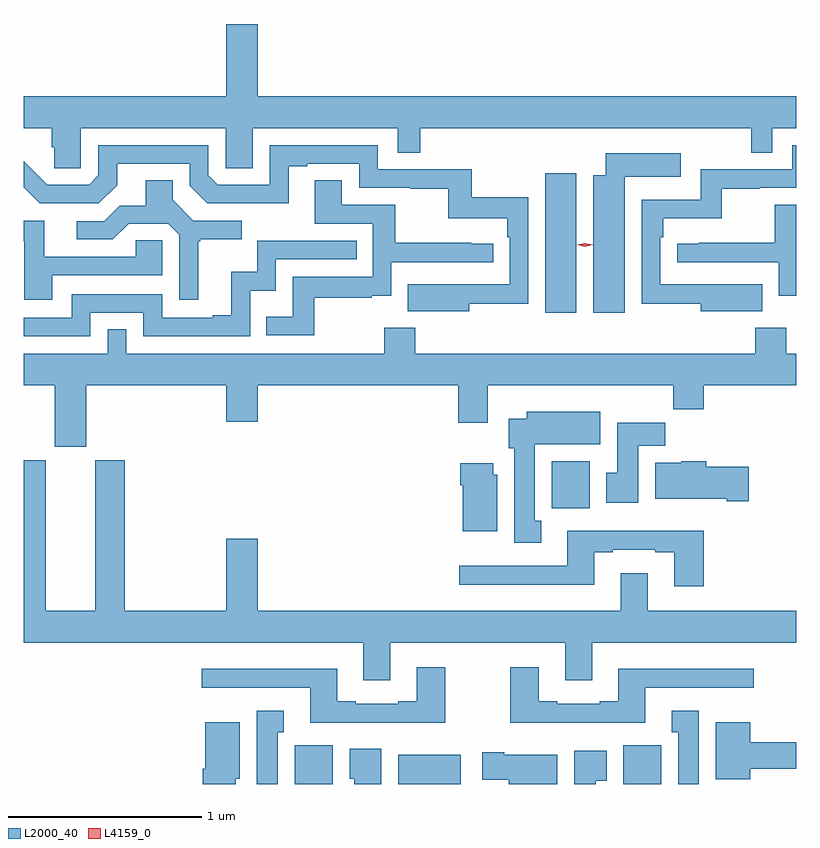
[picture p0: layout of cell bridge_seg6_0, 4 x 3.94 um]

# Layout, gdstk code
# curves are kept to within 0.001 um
import gdstk
lib = gdstk.Library(unit=1e-6, precision=1e-09)
def R(c, l, rs):  # rectangles x0, y0, x1, y1
    for r in rs: c.add(gdstk.rectangle(r[:2], r[2:], *l))
def P(c, l, *ps):  # polygons
    for p in ps: c.add(gdstk.Polygon(p, *l))
L2000_40 = (2000, 40)
L4159_0 = (4159, 0)

bridge_seg6_0 = lib.new_cell('bridge_seg6_0')
R(bridge_seg6_0, L2000_40, [(884.642,915.968,884.839,916.168), (885.179,915.968,885.502,916.12), (886.343,915.968,886.54,916.168), (885.974,917.396,886.171,917.638), (885.941,918.408,886.102,919.129)])
P(bridge_seg6_0, L2000_40, [(883.536,919.364),(884.286,919.364),(884.286,919.156),(884.425,919.156),(884.425,919.364),(885.177,919.364),(885.177,919.237),(885.293,919.237),(885.293,919.364),(887.007,919.364),(887.007,919.237),(887.115,919.237),(887.115,919.364),(887.24,919.364),(887.24,919.528),(884.452,919.528),(884.452,919.903),(884.288,919.903),(884.288,919.528),(883.24,919.528),(883.24,919.364),(883.385,919.364),(883.385,919.266),(883.399,919.266),(883.399,919.156),(883.536,919.156)],
  [(885.547,918.454),(885.852,918.454),(885.852,919.006),(885.559,919.006),(885.559,919.152),(885.072,919.152),(885.072,919.275),(884.514,919.275),(884.514,919.071),(884.244,919.071),(884.196,919.119),(884.196,919.275),(883.626,919.275),(883.626,919.119),(883.578,919.071),(883.362,919.071),(883.24,919.193),(883.24,919.058),(883.323,918.975),(883.629,918.975),(883.723,919.069),(883.723,919.179),(884.1,919.179),(884.1,919.065),(884.19,918.975),(884.611,918.974),(884.611,919.167),(884.707,919.167),(884.707,919.179),(884.976,919.179),(884.976,919.056),(885.241,919.056),(885.241,919.051),(885.438,919.051),(885.438,918.896),(885.743,918.896),(885.743,918.8),(885.756,918.8),(885.756,918.555),(885.229,918.556),(885.229,918.416),(885.547,918.416)],
  [(887.063,918.556),(886.849,918.556),(886.849,918.555),(886.536,918.555),(886.536,918.8),(886.55,918.8),(886.55,918.896),(886.855,918.896),(886.855,919.051),(887.051,919.051),(887.051,919.056),(887.24,919.056),(887.24,919.275),(887.22,919.275),(887.22,919.152),(886.746,919.152),(886.746,918.993),(886.44,918.993),(886.44,918.454),(886.745,918.454),(886.745,918.416),(887.063,918.416)],
  [(886.351,919.112),(886.642,919.112),(886.642,919.234),(886.253,919.234),(886.253,919.12),(886.19,919.12),(886.19,918.408),(886.351,918.408)],
  [(884.743,918.486),(885.041,918.486),(885.041,918.497),(885.144,918.497),(885.144,918.669),(885.67,918.669),(885.67,918.765),(885.557,918.765),(885.557,918.77),(885.164,918.77),(885.164,918.966),(884.887,918.966),(884.887,919.094),(884.747,919.094),(884.747,918.87),(885.048,918.87),(885.048,918.594),(884.632,918.594),(884.632,918.388),(884.497,918.388),(884.497,918.291),(884.743,918.291)],
  [(884.143,918.777),(884.155,918.777),(884.155,918.788),(884.368,918.788),(884.368,918.885),(884.118,918.885),(884.011,918.992),(884.011,919.094),(883.871,919.094),(883.871,918.962),(883.736,918.962),(883.656,918.882),(883.515,918.882),(883.515,918.789),(883.702,918.789),(883.783,918.87),(883.989,918.87),(884.046,918.813),(884.046,918.474),(884.143,918.474)],
  [(887.24,918.966),(887.128,918.966),(887.128,918.77),(886.735,918.77),(886.735,918.765),(886.623,918.765),(886.623,918.669),(887.148,918.669),(887.148,918.497),(887.24,918.497)],
  [(883.387,918.603),(883.956,918.603),(883.956,918.783),(883.819,918.783),(883.819,918.699),(883.345,918.699),(883.345,918.885),(883.24,918.885),(883.24,918.777),(883.243,918.777),(883.243,918.474),(883.387,918.474)],
  [(883.584,918.408),(883.86,918.408),(883.86,918.285),(884.412,918.285),(884.412,918.521),(884.544,918.521),(884.544,918.684),(884.963,918.684),(884.963,918.78),(884.448,918.78),(884.448,918.619),(884.315,918.619),(884.315,918.394),(884.219,918.394),(884.219,918.381),(883.956,918.381),(883.956,918.504),(883.488,918.504),(883.488,918.381),(883.24,918.381),(883.24,918.285),(883.584,918.285)],
  [(883.564,918.032),(884.288,918.032),(884.288,917.844),(884.452,917.844),(884.452,918.032),(885.491,918.032),(885.491,917.838),(885.643,917.838),(885.643,918.032),(886.603,918.032),(886.603,917.908),(886.76,917.908),(886.76,918.032),(887.24,918.032),(887.24,918.196),(887.187,918.196),(887.187,918.331),(887.027,918.331),(887.027,918.196),(885.266,918.196),(885.266,918.331),(885.106,918.331),(885.106,918.196),(883.77,918.196),(883.77,918.323),(883.674,918.323),(883.674,918.196),(883.24,918.196),(883.24,918.032),(883.4,918.032),(883.4,917.715),(883.564,917.715)],
  [(885.919,917.33),(885.886,917.33),(885.886,917.726),(886.225,917.726),(886.225,917.896),(885.845,917.896),(885.845,917.86),(885.752,917.86),(885.752,917.706),(885.779,917.706),(885.779,917.217),(885.919,917.217)],
  [(886.423,917.72),(886.562,917.72),(886.562,917.838),(886.313,917.838),(886.313,917.58),(886.256,917.58),(886.256,917.424),(886.423,917.424)],
  [(885.139,916.7),(886.043,916.7),(886.043,916.506),(886.183,916.506),(886.183,916.7),(887.24,916.7),(887.24,916.864),(886.471,916.864),(886.471,917.059),(886.331,917.059),(886.331,916.864),(884.452,916.864),(884.452,917.239),(884.288,917.239),(884.288,916.864),(883.763,916.864),(883.763,917.643),(883.61,917.643),(883.61,916.864),(883.354,916.864),(883.354,917.643),(883.24,917.643),(883.24,916.7),(884.999,916.7),(884.999,916.506),(885.139,916.506)],
  [(886.993,917.61),(886.775,917.61),(886.775,917.638),(886.644,917.638),(886.644,917.632),(886.511,917.632),(886.511,917.444),(886.88,917.444),(886.88,917.432),(886.993,917.432)],
  [(885.691,917.568),(885.67,917.568),(885.67,917.629),(885.5,917.629),(885.5,917.516),(885.512,917.516),(885.512,917.276),(885.691,917.276)],
  [(886.76,917.278),(886.055,917.278),(886.055,917.097),(885.495,917.097),(885.495,917),(886.195,917),(886.195,917.169),(886.291,917.169),(886.291,917.181),(886.511,917.181),(886.511,917.169),(886.607,917.169),(886.607,916.992),(886.76,916.992)],
  [(885.423,916.573),(885.275,916.573),(885.275,916.396),(885.179,916.396),(885.179,916.383),(884.959,916.383),(884.959,916.396),(884.863,916.396),(884.863,916.564),(884.163,916.564),(884.163,916.467),(884.723,916.467),(884.723,916.286),(885.423,916.286)],
  [(886.459,916.467),(887.02,916.467),(887.02,916.564),(886.319,916.564),(886.319,916.396),(886.223,916.396),(886.223,916.383),(886.003,916.383),(886.003,916.396),(885.907,916.396),(885.907,916.573),(885.76,916.573),(885.76,916.286),(886.459,916.286)],
  [(884.554,916.235),(884.587,916.235),(884.587,916.348),(884.447,916.348),(884.447,915.968),(884.554,915.968)],
  [(886.735,916.348),(886.595,916.348),(886.595,916.235),(886.628,916.235),(886.628,915.968),(886.735,915.968)],
  [(884.338,915.996),(884.359,915.996),(884.359,916.288),(884.18,916.288),(884.18,916.048),(884.168,916.048),(884.168,915.968),(884.338,915.968)],
  [(887.002,916.048),(887.24,916.048),(887.24,916.184),(887.002,916.184),(887.002,916.288),(886.823,916.288),(886.823,915.992),(887.002,915.992)],
  [(885.091,916.15),(884.927,916.15),(884.927,915.996),(884.951,915.996),(884.951,915.968),(885.091,915.968)],
  [(886.201,915.985),(886.258,915.985),(886.258,916.141),(886.091,916.141),(886.091,915.968),(886.201,915.968)],
  [(886.003,916.12),(885.727,916.12),(885.727,916.133),(885.615,916.133),(885.615,915.991),(885.752,915.991),(885.752,915.968),(886.003,915.968)])
P(bridge_seg6_0, L4159_0, [(886.146,918.749),(886.106,918.759),(886.106,918.759),(886.106,918.759),(886.146,918.769),(886.186,918.759),(886.186,918.759),(886.186,918.759)])

lib.write_gds('bridge_seg6_0.gds')
